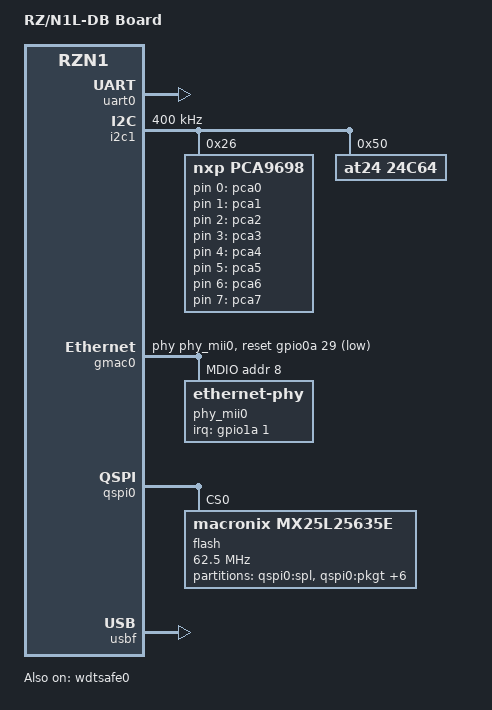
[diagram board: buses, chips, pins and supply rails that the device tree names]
/*
 * Device Tree Source for the RZN1L-DB Board
 *
 * Copyright (C) 2017 Renesas Electronics Europe Ltd
 *
 * This file is licensed under the terms of the GNU General Public License
 * version 2.  This program is licensed "as is" without any warranty of any
 * kind, whether express or implied.
 */

/dts-v1/;

#include "rzn1s.dtsi"
#include "rzn1-clocks.dtsi"

/ {
	model = "RZ/N1L-DB Board";
	compatible = "renesas,rzn1l-db", "renesas,rzn1";

	chosen {
		bootargs = "console=ttyS0,115200";
		stdout-path = &uart0;
		linux,stdout-path = &uart0;
	};
	hoard: cat: nmi: rmii {
		#address-cells = <1>;
		#size-cells = <0>;
	};
	leds {
		compatible = "gpio-leds";

		pca0 {
			label = "pca0";
			gpios = <&pca9698 0 GPIO_ACTIVE_HIGH>;
		};
		pca1 {
			label = "pca1";
			gpios = <&pca9698 1 GPIO_ACTIVE_HIGH>;
		};
		pca2 {
			label = "pca2";
			gpios = <&pca9698 2 GPIO_ACTIVE_HIGH>;
		};
		pca3 {
			label = "pca3";
			gpios = <&pca9698 3 GPIO_ACTIVE_HIGH>;
		};
		pca4 {
			label = "pca4";
			gpios = <&pca9698 4 GPIO_ACTIVE_HIGH>;
		};
		pca5 {
			label = "pca5";
			gpios = <&pca9698 5 GPIO_ACTIVE_HIGH>;
		};
		pca6 {
			label = "pca6";
			gpios = <&pca9698 6 GPIO_ACTIVE_HIGH>;
		};
		pca7 {
			label = "pca7";
			gpios = <&pca9698 7 GPIO_ACTIVE_HIGH>;
		};
	};
};

/* Map the USB pinmux to the peripheral port */
#define usb usbh_pci
/* ethX refers to the physical pins for each ethernet interface. Here we simply
 * place them in the hoard node, and the users of the pins will then indicate
 * are needed by adding a pinctrl-0 entry for them.
 */
#define eth0 hoard
#define eth1 hoard
#define eth2 hoard
#define eth3 hoard
#define eth4 hoard
#define refclk hoard
#define mdio0 hoard
#define mdio1 hoard
#define lcd fb0

#include "rzn1d400_preset_db.dts"

/* Calculated gpio irq numbers: gpioXa Y = 32*X + Y */
#define GPIOA_IRQ(gpioa_block, nr)	(32 * gpioa_block + nr)
&gpioirq {
	status = "okay";
	gpioirq-0 = <GPIOA_IRQ(1, 1)>;	/* pin 70: ETH Port 0 IRQ */
	gpioirq-1 = <GPIOA_IRQ(1, 5)>;	/* pin 95: ETH Port 3 IRQ */
	gpioirq-2 = <GPIOA_IRQ(1, 6)>;	/* pin 96: ETH Port 4 IRQ */
};

&uart0 {
	status = "okay";
	u-boot,dm-pre-reloc;
};
&i2c1 {
	status = "okay";
	clock-frequency = <400000>;
	pca9698: gpio@26 {
		compatible = "nxp,pca9698";
		reg = <0x26>;
		gpio-controller;
		#gpio-cells = <2>;
		gpio-bank-name="pca";
	};
	at24@50 {
		compatible = "at24,24c64";
		pagesize = <32>;
		reg = <0x50>;
	};
};
&gpio0 {
	status = "okay";
};
&gpio1 {
	status = "okay";
};
&gpio2 {
	status = "okay";
};

&gmac0 {
	status = "okay";
	pinctrl-names = "default";
	pinctrl-0 = <&pins_mdio0>, <&pins_eth0>;

	phy-handle = <&phy_mii0>;

	/* Reset is on GPIO 66 */
	snps,reset-gpio = <&gpio0a 29 GPIO_ACTIVE_HIGH>;
	snps,reset-active-low;
	snps,reset-delays-us = <0 10000 30000>;

	mdio0 {
		#address-cells = <1>;
		#size-cells = <0>;
		compatible = "snps,dwmac-mdio";
		phy_mii0: ethernet-phy@8 {
			/* Marvell 88E1512 PHY on ETH1 */
			device_type = "ethernet-phy";
			phy-mode = "rgmii-id";
			reg = <8>;
			/* Set LED0 as active low link status, LED2 as interrupt */
			marvell,reg-init = <3 16 0 0x1010 3 18 0 0x4980>;
			/* Interrupt is on GPIO 70 */
			interrupt-parent = <&gpio1a>;
			interrupts = <1 IRQ_TYPE_LEVEL_LOW>;
		};
	};
};
&gmac1 {
	status = "disabled";

	/* Fixed 1Gbps link to the 5-port switch */
	fixed-link {
		speed = <1000>;
		full-duplex;
	};
};
&ethswitch {
	status = "disabled";
	bus_freq = <2500000>;
	pinctrl-names = "default";
	pinctrl-0 = <&pins_mdio1>,
		<&pins_eth1>, <&pins_eth2>, <&pins_eth3>, <&pins_eth4>;

	/* Reset is on GPIO 94 */
	phy-reset-gpios = <&gpio1b 25 GPIO_ACTIVE_HIGH>;
	phy-reset-duration = <15>;

	#address-cells = <1>;
	#size-cells = <0>;
	portA: phy_mii4: ethernet-phy@5 {
		device_type = "ethernet-phy";
		phy-mode = "mii";
		reg = <5>;
		/* Set LED0 as active low link status */
		micrel,led-mode = <1>;
		/* Interrupt is on GPIO 96 */
		interrupt-parent = <&gpio1a>;
		interrupts = <6 IRQ_TYPE_LEVEL_LOW>;
	};
	portB: phy_mii3: ethernet-phy@4 {
		device_type = "ethernet-phy";
		phy-mode = "mii";
		reg = <4>;
		/* Set LED0 as active low link status */
		micrel,led-mode = <1>;
		/* Interrupt is on GPIO 95 */
		interrupt-parent = <&gpio1a>;
		interrupts = <5 IRQ_TYPE_LEVEL_LOW>;
	};
};
&eth_miic {
	status = "disabled";
	pinctrl-names = "default";
	pinctrl-0 = <&pins_refclk>;
	/* RIN Mode Control - GMAC1 on all Switch ports */
	mode_control = <0x13>;

	mii0: eth-mii0 {
		phy-handle = <&phy_mii0>;
	};
	mii1: eth-mii1 {
		/* Nothing */
	};
	mii2: eth-mii2 {
		/* Nothing */
	};
	mii3: eth-mii3 {
		phy-handle = <&phy_mii3>;
	};
	mii4: eth-mii4 {
		phy-handle = <&phy_mii4>;
	};
};
&qspi0 {
	status = "okay";
	u-boot,dm-pre-reloc;

	flash: mx25l25635@0 {
		#address-cells = <1>;
		#size-cells = <1>;
		compatible = "macronix,mx25l25635e", "spi-flash";
		reg = <0>;
		spi-max-frequency = <62500000>;
		spi-cpha;
		spi-cpol;
		spi-rx-bus-width = <4>;
		renesas,rzn1-read-cmd = <0x6b 8 0>;
		renesas,rzn1-readcap-delay = <1>;
		/* The properties below are used by U-Boot */
		tshsl-ns = <30>;
		tsd2d-ns = <3>;
		tchsh-ns = <3>;
		tslch-ns = <3>;
		memory-map = <RZN1_V_QSPI_BASE RZN1_V_QSPI_SIZE>;
		memory-map-write = <1>;
		u-boot,dm-pre-reloc;

		partition@0 {
			/* 64KB */
			label = "qspi0:spl";
			reg = <0x0000000 0x00010000>;
		};
		partition@1 {
			/* 64KB */
			label = "qspi0:pkgt";
			reg = <0x0010000 0x00010000>;
		};
		partition@2 {
			/* 512KB */
			label = "qspi0:u-boot";
			reg = <0x0020000 0x00080000>;
		};
		partition@3 {
			/* 64KB */
			label = "qspi0:env";
			reg = <0x00a0000 0x00010000>;
		};
		partition@4 {
			/* 128KB */
			label = "qspi0:dtb";
			reg = <0x00b0000 0x00020000>;
		};
		partition@5 {
			/* 1MB */
			label = "qspi0:cm3";
			reg = <0x00d0000 0x00100000>;
		};
		partition@6 {
			/* 6MB */
			label = "qspi0:kernel";
			reg = <0x01d0000 0x00600000>;
		};
		partition@7 {
			/* Remaining */
			label = "qspi0:data";
			reg = <0x07d0000 0>;
		};
	};
};
&usbf {
	status = "okay";
};
&wdtsafe0 {
	status = "okay";
};
